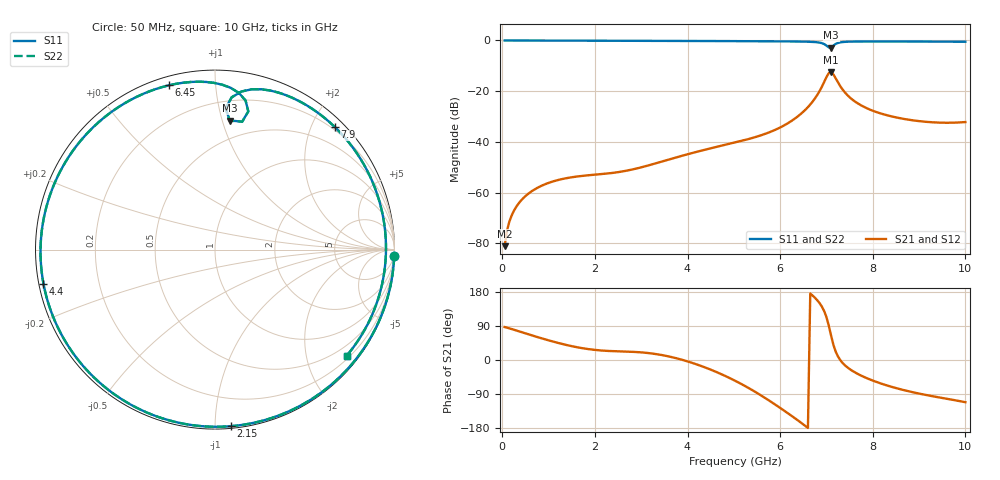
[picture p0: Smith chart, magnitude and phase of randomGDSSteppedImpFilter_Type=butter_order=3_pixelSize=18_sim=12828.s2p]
! freq	dB(S11)	phase(S11)	dB(S12)	phase(S12)
!  dB(S21)	phase(S21)	dB(S22)	phase(S22)
!S-par simulation data
#  GHz  S  DB  R 50
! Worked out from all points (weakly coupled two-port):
!   200 points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, 50 MHz to 10 GHz, reference 50 ohm
!   highest |S21| = -12.49 dB at 7.1 GHz (marker M1); lowest = -81.2 dB at 50 MHz (marker M2)
!   lowest |S11| = -2.8 dB at 7.1 GHz (marker M3), VSWR 6.24, Z = 17.5 + j52.9 ohm
!   |S11| at or under -10 dB: nowhere
!   |S22| runs from -2.8 to 0.0 dB; largest |S21 - S12| = 0
!   S11 on the Smith chart (normalised r, x): 50 MHz: 1, -56; 2.15 GHz: 0.01, -1.10; 4.4 GHz: 0.01, -0.10; 6.45 GHz: 0.04, +0.76; 7.9 GHz: 0.15, +2.37; 10 GHz: 0.27, -2.81
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0.05  -0.01 -2.1  -81.18 87.0  -81.18 87.0  -0.01 -2.1
0.1  -0.01 -4.1  -75.15 85.5  -75.15 85.5  -0.01 -4.1
0.2  -0.01 -8.1  -69.15 81.8  -69.15 81.8  -0.01 -8.1
0.5  -0.02 -20.3  -61.42 70.3  -61.42 70.3  -0.02 -20.3
1  -0.05 -40.3  -56.20 51.9  -56.20 51.9  -0.05 -40.3
1.75  -0.09 -69.5  -53.40 30.7  -53.40 30.7  -0.09 -69.5
2.15  -0.11 -84.8  -52.73 25.0  -52.73 25.0  -0.11 -84.8
2.75  -0.13 -107.3  -51.15 21.9  -51.15 21.9  -0.13 -107.3
3.4  -0.17 -131.3  -48.04 14.0  -48.04 14.0  -0.17 -131.3
4.4  -0.23 -168.8  -43.01 -20.6  -43.01 -20.6  -0.23 -168.8
5.05  -0.27 165.9  -40.16 -56.2  -40.16 -56.2  -0.27 165.9
5.75  -0.33 137.0  -36.36 -106.0  -36.36 -106.0  -0.33 137.0
6.45  -0.44 105.6  -28.93 -165.3  -28.93 -165.3  -0.44 105.6
6.7  -0.58 93.0  -24.16 170.2  -24.16 170.2  -0.58 93.0
6.95  -1.43 78.4  -16.41 129.2  -16.41 129.2  -1.43 78.4
7.1  -2.81 83.4  -12.49 64.3  -12.49 64.3  -2.82 83.5
7.2  -1.37 83.7  -14.99 21.9  -14.99 21.9  -1.38 83.8
7.35  -0.63 73.9  -19.41 -8.0  -19.41 -8.0  -0.63 73.9
7.9  -0.40 45.6  -26.99 -49.5  -26.99 -49.5  -0.40 45.6
8.35  -0.40 25.3  -29.72 -68.8  -29.72 -68.8  -0.40 25.4
9.1  -0.43 -5.8  -32.03 -91.1  -32.03 -91.1  -0.43 -5.7
10  -0.52 -38.9  -32.20 -111.4  -32.20 -111.4  -0.52 -38.9
